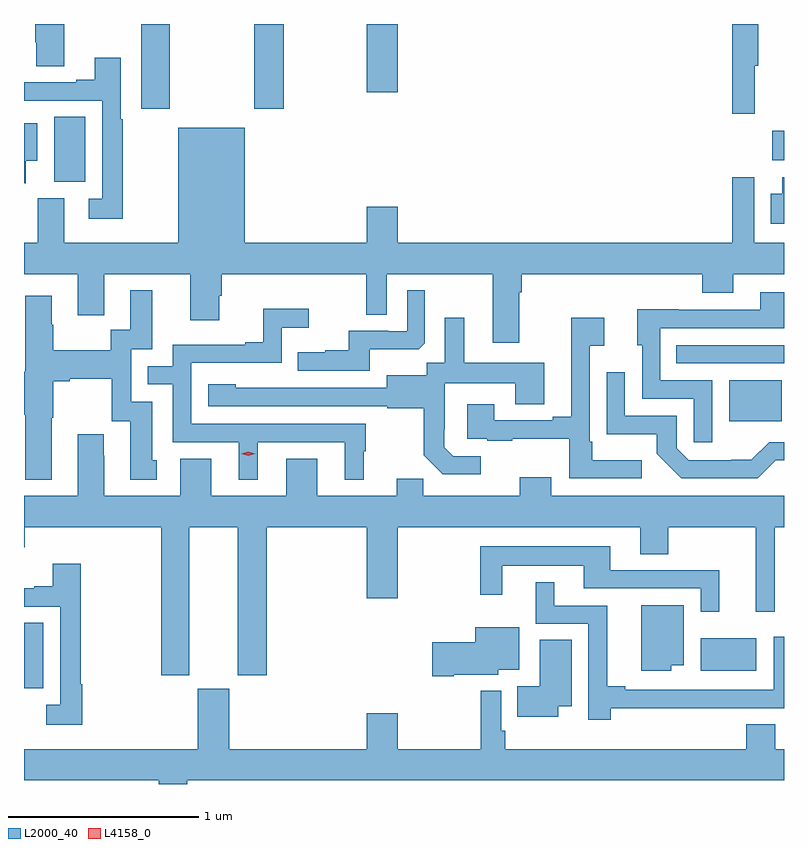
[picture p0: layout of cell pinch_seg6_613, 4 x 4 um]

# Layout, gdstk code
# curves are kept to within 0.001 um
import gdstk
lib = gdstk.Library(unit=1e-6, precision=1e-09)
def R(c, l, rs):  # rectangles x0, y0, x1, y1
    for r in rs: c.add(gdstk.rectangle(r[:2], r[2:], *l))
def P(c, l, *ps):  # polygons
    for p in ps: c.add(gdstk.Polygon(p, *l))
L2000_40 = (2000, 40)
L4158_0 = (4158, 0)

pinch_seg6_613 = lib.new_cell('pinch_seg6_613')
R(pinch_seg6_613, L2000_40, [(486.881,958.477,486.982,958.82), (490.442,958.568,490.735,958.738), (490.592,959.882,490.87,960.097), (490.315,960.186,490.881,960.282), (487.04,961.141,487.204,961.484), (490.818,961.256,490.881,961.409), (487.499,961.527,487.647,961.972), (488.092,961.527,488.247,961.972), (488.684,961.614,488.848,961.972)])
P(pinch_seg6_613, L2000_40, [(490.727,961.752),(490.745,961.752),(490.745,961.972),(490.609,961.972),(490.609,961.5),(490.727,961.5)],
  [(487.093,961.972),(486.941,961.972),(486.941,961.875),(486.946,961.875),(486.946,961.75),(487.093,961.75)],
  [(487.402,961.472),(487.389,961.472),(487.389,961.795),(487.253,961.795),(487.253,961.678),(487.157,961.678),(487.157,961.665),(486.881,961.665),(486.881,961.569),(487.293,961.569),(487.293,961.053),(487.221,961.053),(487.221,960.948),(487.402,960.948)],
  [(486.889,961.253),(486.952,961.253),(486.952,961.45),(486.881,961.45),(486.881,961.134),(486.889,961.134)],
  [(488.848,961.009),(488.684,961.009),(488.684,960.82),(488.044,960.82),(488.044,961.426),(487.694,961.426),(487.694,960.82),(487.093,960.82),(487.093,961.056),(486.953,961.056),(486.953,960.82),(486.881,960.82),(486.881,960.656),(487.163,960.656),(487.163,960.438),(487.303,960.438),(487.303,960.656),(487.757,960.656),(487.757,960.414),(487.909,960.414),(487.909,960.543),(487.922,960.543),(487.922,960.656),(488.682,960.656),(488.682,960.442),(488.79,960.442),(488.79,960.656),(489.347,960.656),(489.347,960.294),(489.487,960.294),(489.487,960.56),(489.5,960.56),(489.5,960.656),(490.451,960.656),(490.451,960.557),(490.615,960.557),(490.615,960.656),(490.881,960.656),(490.881,960.82),(490.725,960.82),(490.725,961.165),(490.609,961.165),(490.609,960.82),(488.848,960.82)],
  [(490.881,961.165),(490.871,961.165),(490.871,961.078),(490.81,961.078),(490.81,960.92),(490.881,960.92)],
  [(488.701,960.26),(488.959,960.26),(488.991,960.291),(488.991,960.571),(488.898,960.571),(488.898,960.354),(488.798,960.354),(488.798,960.357),(488.591,960.357),(488.591,960.256),(488.467,960.256),(488.467,960.244),(488.323,960.244),(488.323,960.147),(488.701,960.147)],
  [(487.027,959.899),(487.035,959.899),(487.035,960.092),(487.123,960.092),(487.123,960.104),(487.343,960.104),(487.343,959.88),(487.439,959.88),(487.439,959.574),(487.579,959.574),(487.579,959.676),(487.555,959.676),(487.555,959.985),(487.446,959.985),(487.446,960.261),(487.555,960.261),(487.555,960.571),(487.439,960.571),(487.439,960.362),(487.338,960.362),(487.338,960.256),(487.035,960.256),(487.035,960.39),(487.027,960.39),(487.027,960.541),(486.887,960.541),(486.887,960.141),(486.881,960.141),(486.881,959.915),(486.887,959.915),(486.887,959.573),(487.027,959.573)],
  [(490.503,960.096),(490.23,960.096),(490.23,960.372),(490.881,960.372),(490.881,960.559),(490.757,960.559),(490.757,960.468),(490.327,960.468),(490.327,960.47),(490.109,960.47),(490.109,960.282),(490.134,960.282),(490.134,960),(490.407,960),(490.407,959.772),(490.503,959.772)],
  [(488.11,959.772),(488.57,959.772),(488.57,959.573),(488.668,959.573),(488.668,959.724),(488.68,959.724),(488.68,959.868),(487.761,959.868),(487.761,960.189),(488.238,960.189),(488.238,960.374),(488.38,960.374),(488.38,960.473),(488.14,960.473),(488.14,960.298),(488.045,960.298),(488.045,960.285),(487.665,960.285),(487.665,960.171),(487.531,960.171),(487.531,960.075),(487.665,960.075),(487.665,959.772),(488.012,959.772),(488.012,959.573),(488.11,959.573)],
  [(490.132,959.677),(489.871,959.677),(489.871,959.773),(489.858,959.773),(489.858,960.278),(489.934,960.278),(489.934,960.427),(489.761,960.427),(489.761,959.905),(489.665,959.905),(489.665,959.886),(489.355,959.886),(489.355,959.971),(489.215,959.971),(489.215,959.79),(489.319,959.79),(489.319,959.778),(489.451,959.778),(489.451,959.789),(489.75,959.789),(489.75,959.58),(490.132,959.58)],
  [(489.286,959.697),(489.141,959.697),(489.094,959.744),(489.094,959.839),(489.096,959.839),(489.096,960.08),(489.467,960.08),(489.467,959.971),(489.619,959.971),(489.619,960.19),(489.199,960.19),(489.199,960.427),(489.095,960.427),(489.095,960.188),(489,960.188),(489,960.124),(488.789,960.124),(488.789,960.057),(487.995,960.058),(487.995,960.076),(487.851,960.076),(487.851,959.961),(488.793,959.961),(488.793,959.949),(488.985,959.949),(488.985,959.703),(489.085,959.603),(489.286,959.603)],
  [(490.838,959.675),(490.881,959.675),(490.881,959.772),(490.803,959.772),(490.709,959.678),(490.604,959.678),(490.604,959.676),(490.38,959.676),(490.317,959.739),(490.317,959.91),(490.044,959.91),(490.044,960.139),(489.948,960.139),(489.948,959.813),(490.21,959.813),(490.21,959.711),(490.34,959.58),(490.743,959.58)],
  [(487.75,959.324),(488.006,959.324),(488.006,958.545),(488.159,958.545),(488.159,959.324),(488.684,959.324),(488.684,958.95),(488.848,958.95),(488.848,959.324),(490.124,959.324),(490.124,959.182),(490.272,959.182),(490.272,959.324),(490.733,959.324),(490.733,958.878),(490.832,958.878),(490.832,959.324),(490.881,959.324),(490.881,959.488),(489.655,959.488),(489.655,959.587),(489.491,959.587),(489.491,959.488),(488.981,959.488),(488.981,959.579),(488.843,959.579),(488.843,959.488),(488.425,959.488),(488.425,959.683),(488.261,959.683),(488.261,959.488),(487.867,959.488),(487.867,959.683),(487.703,959.683),(487.703,959.488),(487.303,959.488),(487.303,959.699),(487.3,959.699),(487.3,959.812),(487.163,959.812),(487.163,959.488),(486.881,959.488),(486.881,959.218),(486.884,959.218),(486.884,959.324),(487.603,959.324),(487.603,958.545),(487.75,958.545)],
  [(490.541,959.097),(489.967,959.097),(489.967,959.224),(489.283,959.224),(489.283,958.968),(489.397,958.968),(489.397,959.12),(489.827,959.12),(489.827,959.001),(490.443,959.001),(490.443,958.878),(490.541,958.878)],
  [(487.187,958.496),(487.18,958.496),(487.18,959.131),(487.031,959.131),(487.031,959.014),(486.935,959.014),(486.935,959.001),(486.881,959.001),(486.881,958.905),(487.071,958.905),(487.071,958.389),(486.999,958.389),(486.999,958.284),(487.187,958.284)],
  [(489.968,958.37),(490.598,958.37),(490.598,958.371),(490.881,958.371),(490.881,958.747),(490.827,958.747),(490.827,958.467),(490.045,958.467),(490.045,958.487),(489.95,958.487),(489.95,958.911),(489.673,958.911),(489.673,959.035),(489.575,959.035),(489.575,958.815),(489.852,958.815),(489.852,958.311),(489.968,958.311)],
  [(490.288,958.598),(490.354,958.598),(490.354,958.912),(490.13,958.912),(490.13,958.568),(490.288,958.568)],
  [(489.142,958.547),(489.378,958.547),(489.378,958.574),(489.487,958.574),(489.487,958.798),(489.257,958.798),(489.257,958.718),(489.03,958.718),(489.03,958.54),(489.142,958.54)],
  [(489.694,958.382),(489.763,958.382),(489.763,958.73),(489.596,958.73),(489.596,958.486),(489.478,958.486),(489.478,958.325),(489.694,958.325)],
  [(487.741,957.992),(490.881,957.992),(490.881,958.156),(490.834,958.156),(490.834,958.286),(490.682,958.286),(490.682,958.156),(489.413,958.156),(489.413,958.252),(489.393,958.252),(489.393,958.462),(489.285,958.462),(489.285,958.156),(488.848,958.156),(488.848,958.345),(488.684,958.345),(488.684,958.156),(487.96,958.156),(487.96,958.473),(487.796,958.473),(487.796,958.156),(486.881,958.156),(486.881,957.992),(487.589,957.992),(487.589,957.972),(487.741,957.972)])
P(pinch_seg6_613, L4158_0, [(488.061,959.7),(488.025,959.71),(488.025,959.71),(488.025,959.711),(488.061,959.72),(488.097,959.711),(488.097,959.71),(488.097,959.71)])

lib.write_gds('pinch_seg6_613.gds')
